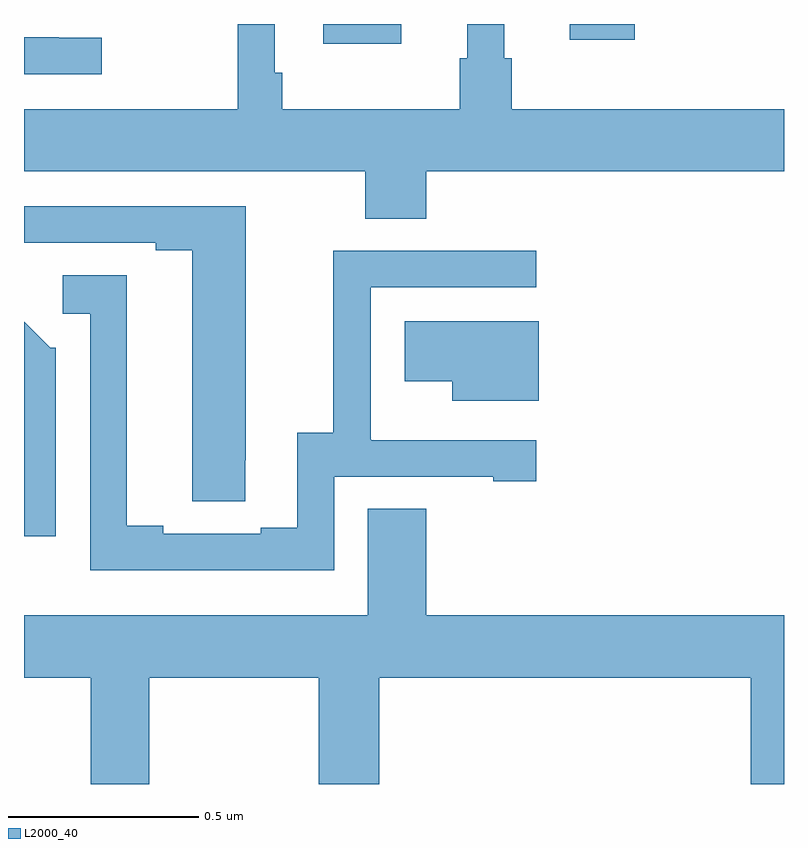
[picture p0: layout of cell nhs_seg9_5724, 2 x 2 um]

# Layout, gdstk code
import gdstk
lib = gdstk.Library(unit=1e-6, precision=1e-09)
def R(c, l, rs):  # rectangles x0, y0, x1, y1
    for r in rs: c.add(gdstk.rectangle(r[:2], r[2:], *l))
def P(c, l, *ps):  # polygons
    for p in ps: c.add(gdstk.Polygon(p, *l))
L2000_40 = (2000, 40)

nhs_seg9_5724 = lib.new_cell('nhs_seg9_5724')
R(nhs_seg9_5724, L2000_40, [(183.788,1171.448,183.993,1171.5), (184.436,1171.458,184.607,1171.5)])
P(nhs_seg9_5724, L2000_40, [(184.058,1171.112),(185,1171.112),(185,1171.276),(184.283,1171.276),(184.283,1171.41),(184.264,1171.41),(184.264,1171.5),(184.166,1171.5),(184.166,1171.41),(184.147,1171.41),(184.147,1171.276),(183.68,1171.276),(183.68,1171.372),(183.66,1171.372),(183.66,1171.5),(183.563,1171.5),(183.563,1171.276),(183,1171.276),(183,1171.112),(183.898,1171.112),(183.898,1170.988),(184.058,1170.988)],
  [(183.205,1171.464),(183.092,1171.464),(183.092,1171.465),(183,1171.465),(183,1171.368),(183.205,1171.368)],
  [(183.582,1170.352),(183.583,1170.352),(183.583,1171.02),(183,1171.02),(183,1170.924),(183.347,1170.924),(183.347,1170.904),(183.443,1170.904),(183.443,1170.244),(183.582,1170.244)],
  [(183.816,1170.309),(184.235,1170.309),(184.235,1170.297),(184.348,1170.297),(184.348,1170.405),(183.914,1170.405),(183.914,1170.406),(183.912,1170.406),(183.912,1170.807),(184.348,1170.807),(184.348,1170.903),(183.814,1170.903),(183.814,1170.425),(183.719,1170.425),(183.719,1170.174),(183.623,1170.174),(183.623,1170.159),(183.367,1170.159),(183.367,1170.179),(183.271,1170.179),(183.271,1170.839),(183.102,1170.839),(183.102,1170.738),(183.174,1170.738),(183.174,1170.063),(183.816,1170.063)],
  [(184.354,1170.718),(184.002,1170.718),(184.002,1170.56),(184.127,1170.56),(184.127,1170.509),(184.354,1170.509)],
  [(183.084,1170.648),(183.069,1170.648),(183,1170.717),(183,1170.152),(183.084,1170.152)],
  [(183.33,1169.78),(183.775,1169.78),(183.775,1169.5),(183.935,1169.5),(183.935,1169.78),(184.913,1169.78),(184.913,1169.5),(185,1169.5),(185,1169.944),(184.058,1169.944),(184.058,1170.224),(183.905,1170.224),(183.905,1169.944),(183,1169.944),(183,1169.78),(183.175,1169.78),(183.175,1169.5),(183.33,1169.5)])

lib.write_gds('nhs_seg9_5724.gds')
